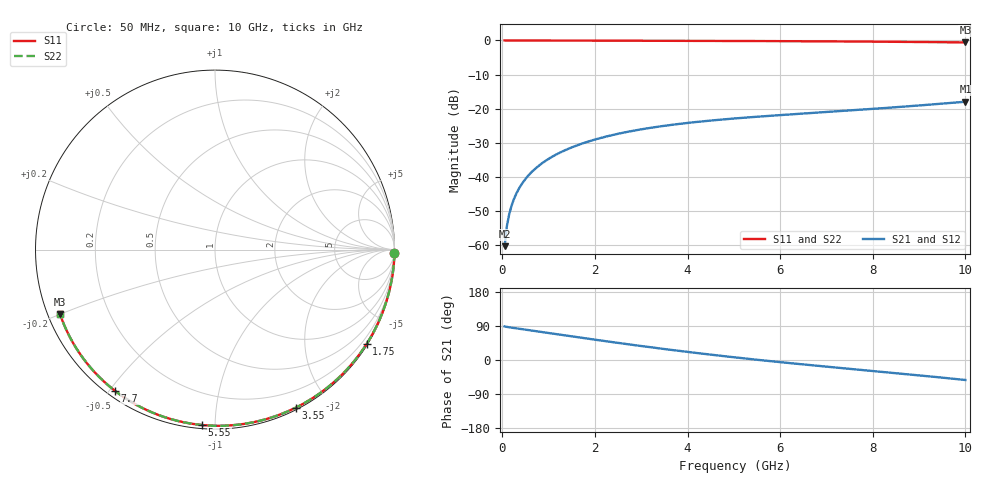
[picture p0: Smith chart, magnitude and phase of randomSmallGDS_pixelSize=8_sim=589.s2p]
! freq	dB(S11)	phase(S11)	dB(S12)	phase(S12)
!  dB(S21)	phase(S21)	dB(S22)	phase(S22)
!S-par simulation data
#  GHz  S  DB  R 50
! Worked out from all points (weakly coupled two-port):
!   200 points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, 50 MHz to 10 GHz, reference 50 ohm
!   highest |S21| = -17.98 dB at 10 GHz (marker M1); lowest = -60.4 dB at 50 MHz (marker M2)
!   lowest |S11| = -0.6 dB at 10 GHz (marker M3), VSWR 29.93, Z = 1.74 - j10 ohm
!   |S11| at or under -10 dB: nowhere
!   |S22| runs from -0.6 to 0.0 dB; largest |S21 - S12| = 0
!   S11 on the Smith chart (normalised r, x): 50 MHz: open; 1.75 GHz: 0.03, -3.49; 3.55 GHz: 0.02, -1.64; 5.55 GHz: 0.02, -0.93; 7.7 GHz: 0.02, -0.52; 10 GHz: 0.03, -0.20
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0.05  -0.00 -0.9  -60.37 88.5  -60.37 88.5  -0.00 -0.9
0.1  -0.00 -1.9  -54.40 87.3  -54.40 87.3  -0.00 -1.9
0.15  -0.00 -2.8  -50.94 86.2  -50.94 86.2  -0.00 -2.8
0.2  -0.00 -3.7  -48.49 85.3  -48.49 85.3  -0.00 -3.7
0.25  -0.00 -4.7  -46.58 84.4  -46.58 84.4  -0.00 -4.7
0.35  -0.00 -6.5  -43.71 82.7  -43.71 82.7  -0.00 -6.5
0.5  -0.01 -9.3  -40.65 80.1  -40.65 80.1  -0.01 -9.3
0.7  -0.02 -13.0  -37.77 76.6  -37.77 76.6  -0.02 -13.0
1  -0.02 -18.4  -34.75 71.3  -34.75 71.3  -0.02 -18.4
1.35  -0.03 -24.8  -32.24 65.0  -32.24 65.0  -0.03 -24.8
1.75  -0.04 -31.9  -30.14 58.0  -30.14 58.0  -0.04 -32.0
2.5  -0.07 -45.1  -27.39 45.1  -27.39 45.1  -0.07 -45.1
3.4  -0.09 -60.4  -25.24 30.5  -25.24 30.5  -0.09 -60.4
3.55  -0.10 -62.9  -24.96 28.2  -24.96 28.2  -0.10 -62.9
4.3  -0.12 -75.0  -23.77 17.0  -23.77 17.0  -0.12 -75.1
5.05  -0.15 -86.7  -22.85 6.6  -22.85 6.6  -0.15 -86.8
5.55  -0.18 -94.3  -22.33 -0.0  -22.33 -0.0  -0.18 -94.3
6.7  -0.24 -111.1  -21.27 -14.1  -21.27 -14.1  -0.24 -111.2
7.7  -0.32 -125.2  -20.37 -25.6  -20.37 -25.6  -0.32 -125.3
8.35  -0.38 -134.2  -19.74 -33.0  -19.74 -33.0  -0.38 -134.3
9.2  -0.47 -146.0  -18.87 -42.9  -18.87 -42.9  -0.47 -146.1
10  -0.58 -157.3  -17.98 -52.8  -17.98 -52.8  -0.58 -157.4
